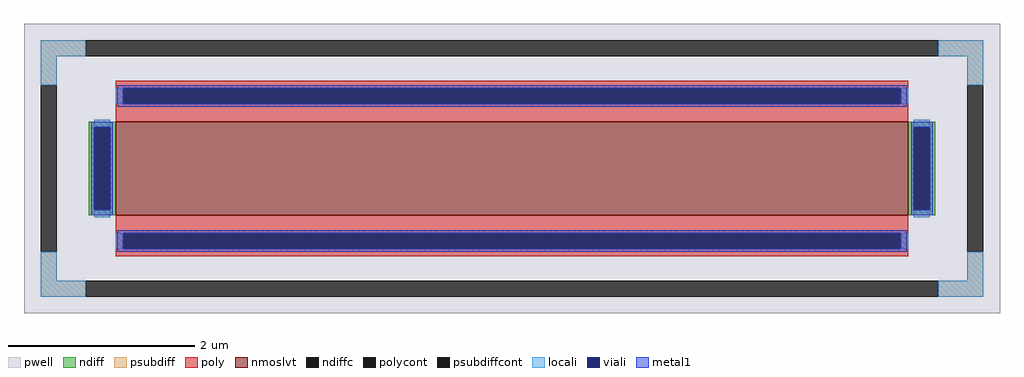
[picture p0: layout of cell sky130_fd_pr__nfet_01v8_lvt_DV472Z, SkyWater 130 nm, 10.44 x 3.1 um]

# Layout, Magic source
magic
tech sky130A
<< pwell >>
rect -522 -155 522 155
<< nmoslvt >>
rect -424 -50 424 50
<< ndiff >>
rect -453 44 -424 50
rect -453 -44 -447 44
rect -430 -44 -424 44
rect -453 -50 -424 -44
rect 424 44 453 50
rect 424 -44 430 44
rect 447 -44 453 44
rect 424 -50 453 -44
<< ndiffc >>
rect -447 -44 -430 44
rect 430 -44 447 44
<< psubdiff >>
rect -504 120 -456 137
rect 456 120 504 137
rect -504 89 -487 120
rect 487 89 504 120
rect -504 -120 -487 -89
rect 487 -120 504 -89
rect -504 -137 -456 -120
rect 456 -137 504 -120
<< psubdiffcont >>
rect -456 120 456 137
rect -504 -89 -487 89
rect 487 -89 504 89
rect -456 -137 456 -120
<< poly >>
rect -424 86 424 94
rect -424 69 -416 86
rect 416 69 424 86
rect -424 50 424 69
rect -424 -69 424 -50
rect -424 -86 -416 -69
rect 416 -86 424 -69
rect -424 -94 424 -86
<< polycont >>
rect -416 69 416 86
rect -416 -86 416 -69
<< locali >>
rect -504 120 -456 137
rect 456 120 504 137
rect -504 89 -487 120
rect 487 89 504 120
rect -424 69 -416 86
rect 416 69 424 86
rect -447 44 -430 52
rect -447 -52 -430 -44
rect 430 44 447 52
rect 430 -52 447 -44
rect -424 -86 -416 -69
rect 416 -86 424 -69
rect -504 -120 -487 -89
rect 487 -120 504 -89
rect -504 -137 -456 -120
rect 456 -137 504 -120
<< viali >>
rect -416 69 416 86
rect -447 -44 -430 44
rect 430 -44 447 44
rect -416 -86 416 -69
<< metal1 >>
rect -422 86 422 89
rect -422 69 -416 86
rect 416 69 422 86
rect -422 66 422 69
rect -450 44 -427 50
rect -450 -44 -447 44
rect -430 -44 -427 44
rect -450 -50 -427 -44
rect 427 44 450 50
rect 427 -44 430 44
rect 447 -44 450 44
rect 427 -50 450 -44
rect -422 -69 422 -66
rect -422 -86 -416 -69
rect 416 -86 422 -69
rect -422 -89 422 -86
<< properties >>
string FIXED_BBOX -495 -128 495 128
string gencell sky130_fd_pr__nfet_01v8_lvt
string library sky130
string parameters w 1.0 l 8.484 m 1 nf 1 diffcov 100 polycov 100 guard 1 glc 1 grc 1 gtc 1 gbc 1 tbcov 100 rlcov 100 topc 1 botc 1 poverlap 0 doverlap 1 lmin 0.15 wmin 0.42 compatible {sky130_fd_pr__nfet_01v8 sky130_fd_pr__nfet_01v8_lvt  sky130_fd_bs_flash__special_sonosfet_star  sky130_fd_pr__nfet_g5v0d10v5 sky130_fd_pr__nfet_05v0_nvt  sky130_fd_pr__nfet_03v3_nvt} full_metal 1 viasrc 100 viadrn 100 viagate 100 viagb 0 viagr 0 viagl 0 viagt 0
<< end >>
